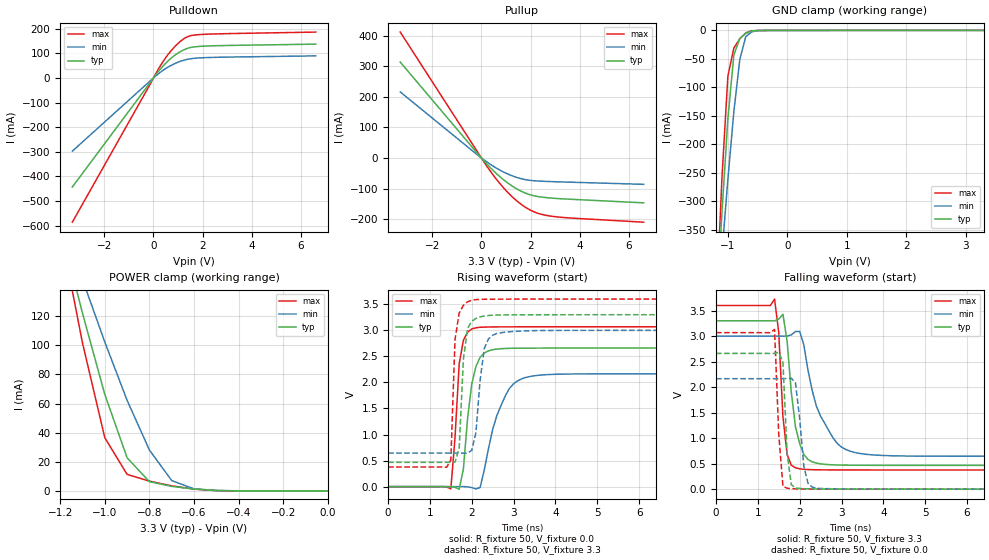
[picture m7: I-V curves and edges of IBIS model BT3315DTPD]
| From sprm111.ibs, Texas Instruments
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[Model]   BT3315DTPD
Model_type   I/O
Vinh = 2.00
Vinl = 0.80
Enable   Active-Low
Polarity   Non-Inverting
| signals   A, GZ, Y
Vmeas = 1.5
|   typ   min   max
C_comp   1.6130p   1.5354p   1.7989p
|   typ   min   max
[Temperature Range]   25   -40   125
|   typ   min   max
[Voltage Range]   3.30V   3.00V   3.60V
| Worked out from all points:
|   slope of the pulldown table from 0 to 0.495 V, typ, clamps not added: 8.31 ohm
|   slope of the pullup table from 0 to 0.495 V, typ, clamps not added: 11.7 ohm
|   GND clamp passes 1 mA (typ) near -0.60 V on its own axis
|   POWER clamp passes 1 mA (typ) near -0.57 V on its own axis
|   rising waveform, R_fixture 50, V_fixture 0.0: 20-80 % time 227ps typ, 469ps min, 154ps max; typ from 0 V to 2.66 V
|   falling waveform, R_fixture 50, V_fixture 3.3: 20-80 % time 241ps typ, 559ps min, 147ps max; typ from 3.3 V to 0.467 V
|   rising waveform, R_fixture 50, V_fixture 3.3: 20-80 % time 132ps typ, 172ps min, 104ps max; typ from 0.467 V to 3.3 V
|   falling waveform, R_fixture 50, V_fixture 0.0: 20-80 % time 108ps typ, 154ps min, 112ps max; typ from 2.66 V to 0 V
[Pulldown]
|   Voltage   I(typ)   I(min)   I(max)
-3.3V     -443.2mA   -297.4mA   -586.1mA
200mV     26.36mA    16.88mA    36.1mA
600mV     69.79mA    44.5mA     96.01mA
800mV     86.98mA    55.31mA    120.1mA
1.1V      107.3mA    67.84mA    149mA
1.4V      120.9mA    76.06mA    168.2mA
1.9V      128.4mA    81.63mA    176.5mA
6.6V      137.5mA    89.76mA    186.4mA
[GND_clamp]
|   Voltage   I(typ)   I(min)   I(max)
-3.3V     -4.812A    -3.63A     -6.247A
-1.2V     -504.2mA   -527.5mA   -496.7mA
-1.1V     -320.1mA   -391.4mA   -259.1mA
-1V       -154.5mA   -261.2mA   -80.19mA
-900mV    -43.39mA   -142.7mA   -30.94mA
-800mV    -14.12mA   -51.2mA    -14.75mA
-700mV    -5.101mA   -11.01mA   -4.29mA
-600mV    -1.017mA   -2.48mA    -551.4uA
-400mV    -40.94uA   -73.53uA   -56.3uA
3.3V      100.8uA    56.36uA    177.3uA
[Pullup]
|   Voltage   I(typ)   I(min)   I(max)
-3.3V     313.3mA    215.7mA    411.3mA
-200mV    18.73mA    12.64mA    24.99mA
300mV     -26.46mA   -17.43mA   -35.88mA
900mV     -71.16mA   -45.96mA   -97.51mA
1.2V      -89.06mA   -56.81mA   -122.9mA
1.5V      -103.8mA   -65.22mA   -144.3mA
1.8V      -115.1mA   -71.07mA   -161.7mA
2.1V      -122.9mA   -74.31mA   -174.7mA
2.7V      -130.1mA   -76.88mA   -188.6mA
3.6V      -134.9mA   -79.19mA   -196.2mA
6.6V      -146.8mA   -86.24mA   -210mA
[POWER_clamp]
|   Voltage   I(typ)   I(min)   I(max)
-3.3V     1.583A     1.198A     2.05A
-1.2V     182.6mA    189.8mA    180.3mA
-1.1V     122.1mA    145.2mA    101.7mA
-1V       66.33mA    102.3mA    36.56mA
-900mV    22.77mA    62.23mA    11.37mA
-800mV    6.362mA    28.11mA    6.722mA
-700mV    3.138mA    7.093mA    3.488mA
-600mV    1.32mA     1.416mA    1.226mA
-500mV    313.3uA    312uA      181.3uA
-400mV    30.65uA    44.38uA    9.582uA
0V        799.4pA    18.74nA    88.82pA
[Ramp]
|   I(typ)   I(min)   I(max)
dV/dt_r   1.596/0.221n   1.299/0.470n   1.841/0.134n
dV/dt_f   1.700/0.236n   1.413/0.561n   1.934/0.133n
[Rising Waveform]
R_fixture = 50
V_fixture = 0.0
|  pu_on
|  TIME   V(typ)   V(min)   V(max)
0s        1nV        11nV       1nV
1.5ns     1.189mV    119.8uV    -44.68mV
1.7ns     -48.7mV    522.6uV    2.357V
1.8ns     334.2mV    921.4uV    2.808V
2ns       1.971V     -18.91mV   3.026V
2.2ns     2.484V     -16.75mV   3.058V
2.3ns     2.565V     322.2mV    3.062V
2.6ns     2.64V      1.363V     3.066V
3.2ns     2.658V     2.071V     3.067V
10ns      2.66V      2.165V     3.068V
[Falling Waveform]
R_fixture = 50
V_fixture = 3.3
V_fixture_min = 3.0
V_fixture_max = 3.6
|  pd_on
|  TIME   V(typ)   V(min)   V(max)
0s        3.3V       3V         3.6V
1.4ns     3.298V     3V         3.726V
1.5ns     3.333V     3V         3.07V
1.6ns     3.427V     2.998V     1.421V
1.7ns     2.902V     3V         681.6mV
1.9ns     1.221V     3.09V      419.3mV
2.1ns     678.7mV    2.826V     389.8mV
2.5ns     496mV      1.431V     379mV
3.2ns     469.6mV    745.6mV    376.7mV
10ns      466.6mV    645mV      376.2mV
[Rising Waveform]
R_fixture = 50
V_fixture = 3.3
V_fixture_min = 3.0
V_fixture_max = 3.6
|  pd_off
|  TIME   V(typ)   V(min)   V(max)
0s        466.6mV    644.9mV    376.2mV
1.5ns     466mV      645.3mV    511.7mV
1.6ns     469.6mV    645.1mV    2.821V
1.7ns     739.2mV    644.1mV    3.333V
1.8ns     2.444V     641.9mV    3.479V
1.9ns     3.035V     644.6mV    3.547V
2.1ns     3.228V     1.039V     3.59V
2.3ns     3.275V     2.653V     3.596V
2.6ns     3.293V     2.94V      3.598V
9.8ns     3.3V       3V         3.6V
[Falling Waveform]
R_fixture = 50
V_fixture = 0.0
|  pu_off
|  TIME   V(typ)   V(min)   V(max)
0s        2.66V      2.165V     3.068V
1.4ns     2.658V     2.165V     3.132V
1.5ns     2.683V     2.164V     1.075V
1.6ns     2.487V     2.164V     58.27mV
1.7ns     706.3mV    2.167V     18.21mV
1.8ns     87.15mV    2.174V     10.21mV
1.9ns     23.66mV    2.084V     6.708mV
2.1ns     9.635mV    444.2mV    3.044mV
2.3ns     5.377mV    41.66mV    1.709mV
10ns      286nV      4.581uV    144nV
